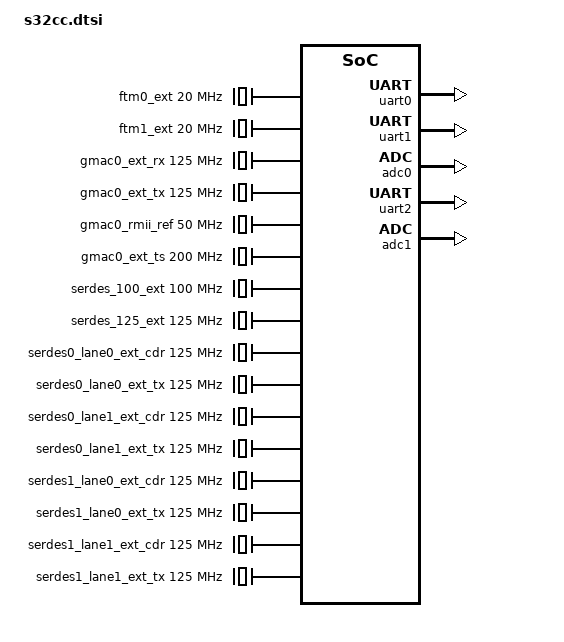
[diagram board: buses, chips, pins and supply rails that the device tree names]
// SPDX-License-Identifier: (GPL-2.0+ OR BSD-3-Clause)
/*
 * Device Tree Include file for NXP S32CC family SoCs.
 *
 * Copyright 2019-2024 NXP
 */

#include <dt-bindings/clock/s32gen1-clock-freq.h>
#include <dt-bindings/clock/s32gen1-clock.h>
#include <dt-bindings/clock/s32cc-scmi-clock.h>
#include <dt-bindings/perf/s32cc-scmi-perf.h>
#include <dt-bindings/interrupt-controller/arm-gic.h>
#include <dt-bindings/nvmem/s32cc-gpr-nvmem.h>
#include <dt-bindings/phy/phy.h>
#include <dt-bindings/reset/s32cc-scmi-reset.h>
#include <dt-bindings/reset/s32gen1-wkpu.h>
#if defined(HSE_SUPPORT)
#include "s32cc-crypto.dtsi"
#endif

/ {
	interrupt-parent = <&gic>;
	#address-cells = <2>;
	#size-cells = <2>;

	chosen {
		stdout-path = "serial0:115200n8";
		tick-timer = &pit0;
	};

	aliases {
		adc0 = &adc0;
		adc1 = &adc1;
		ethernet0 = &gmac0;
		i2c0 = &i2c0;
		i2c1 = &i2c1;
		i2c2 = &i2c2;
		i2c3 = &i2c3;
		i2c4 = &i2c4;
		spi0 = &spi0;
		spi1 = &spi1;
		spi2 = &spi2;
		spi3 = &spi3;
		spi4 = &spi4;
		spi5 = &spi5;
		spi6 = &qspi;
		serdes0 = &serdes0;
		serdes1 = &serdes1;
		pci0 = &pcie0;
		pci1 = &pcie1;
		mmc0 = &usdhc0;
		clks = &clks;
		serial0 = &uart0;
		serial1 = &uart1;
	};

	reserved-memory {
		#address-cells = <2>;
		#size-cells = <2>;
		ranges;

		/* 4Mb shared memory for PCIe shared mem transfers, EP mode */
		pci_shared_memory0: shm@c0000000 {
			compatible = "nxp,s32cc-shm";
			reg = <0x0 0xc0000000 0x0 0x400000>;    /* 4 MB */
			no-map;
		};

		pci_shared_memory1: shm@c0400000 {
			compatible = "nxp,s32cc-shm";
			reg = <0x0 0xc0400000 0x0 0x400000>;    /* 4 MB */
			no-map;
		};

		scmi_shbuf: shm@d0000000 {
			compatible = "arm,scmi-shmem";
			reg = <0x0 0xd0000000 0x0 0x80>;
			no-map;
		};

		hse_reserved: shm@84000000 {
			compatible = "nxp,s32cc-hse-rmem";
			reg = <0x0 0x84000000 0x0 0x1000000>;	/* 16 MB */
			no-map;
		};
	};

	firmware {
		u-boot,dm-pre-reloc;

		scmi: scmi {
			u-boot,dm-pre-reloc;
			compatible = "arm,scmi-smc";
			shmem = <&scmi_shbuf>;
			arm,smc-id = <0xc20000fe>;
			#address-cells = <1>;
			#size-cells = <0>;

			dfs: protocol@13 {
				reg = <0x13>;
				#clock-cells = <1>;
			};

			clks: protocol@14 {
				u-boot,dm-pre-reloc;

				reg = <0x14>;
				#clock-cells = <1>;
			};

			reset: protocol@16 {
				reg = <0x16>;
				#reset-cells = <1>;
			};
		};

		psci {
			compatible = "arm,psci-1.0";
			method = "smc";
		};
	};

	cpus {
		#address-cells = <1>;
		#size-cells = <0>;
		u-boot,dm-pre-reloc;

		cluster0_l2_cache: l2-cache0 {
			compatible = "cache";
		};

		cluster1_l2_cache: l2-cache1 {
			compatible = "cache";
		};
	};

	clocks {
		firc: firc {
			compatible = "fixed-clock";
			clock-frequency = <51000000>;
			#clock-cells = <1>;
		};

		sirc: sirc {
			compatible = "fixed-clock";
			clock-frequency = <32000>;
			#clock-cells = <1>;
		};

		ftm0_ext: ftm0_ext {
			compatible = "fixed-clock";
			clock-frequency = <20000000>;
			#clock-cells = <1>;
		};

		ftm1_ext: ftm1_ext {
			compatible = "fixed-clock";
			clock-frequency = <20000000>;
			#clock-cells = <1>;
		};

		gmac0_ext_rx: gmac0_ext_rx {
			compatible = "fixed-clock";
			clock-frequency = <125000000>;
			#clock-cells = <1>;
		};

		gmac0_ext_tx: gmac0_ext_tx {
			compatible = "fixed-clock";
			clock-frequency = <125000000>;
			#clock-cells = <1>;
		};

		gmac0_rmii_ref: gmac0_rmii_ref {
			compatible = "fixed-clock";
			clock-frequency = <50000000>;
			#clock-cells = <1>;
		};

		gmac0_ext_ts: gmac0_ext_ts {
			compatible = "fixed-clock";
			clock-frequency = <200000000>;
			#clock-cells = <1>;
		};

		serdes_100_ext: serdes_100_ext {
			compatible = "fixed-clock";
			clock-frequency = <100000000>;
			#clock-cells = <0>;
		};

		serdes_125_ext: serdes_125_ext {
			compatible = "fixed-clock";
			clock-frequency = <125000000>;
			#clock-cells = <0>;
		};

		serdes0_lane0_ext_cdr: serdes0_lane0_ext_cdr {
			compatible = "fixed-clock";
			clock-frequency = <125000000>;
			#clock-cells = <1>;
		};

		serdes0_lane0_ext_tx: serdes0_lane0_ext_tx {
			compatible = "fixed-clock";
			clock-frequency = <125000000>;
			#clock-cells = <1>;
		};

		serdes0_lane1_ext_cdr: serdes0_lane1_ext_cdr {
			compatible = "fixed-clock";
			clock-frequency = <125000000>;
			#clock-cells = <1>;
		};

		serdes0_lane1_ext_tx: serdes0_lane1_ext_tx {
			compatible = "fixed-clock";
			clock-frequency = <125000000>;
			#clock-cells = <1>;
		};

		serdes1_lane0_ext_cdr: serdes1_lane0_ext_cdr {
			compatible = "fixed-clock";
			clock-frequency = <125000000>;
			#clock-cells = <1>;
		};

		serdes1_lane0_ext_tx: serdes1_lane0_ext_tx {
			compatible = "fixed-clock";
			clock-frequency = <125000000>;
			#clock-cells = <1>;
		};

		serdes1_lane1_ext_cdr: serdes1_lane1_ext_cdr {
			compatible = "fixed-clock";
			clock-frequency = <125000000>;
			#clock-cells = <1>;
		};

		serdes1_lane1_ext_tx: serdes1_lane1_ext_tx {
			compatible = "fixed-clock";
			clock-frequency = <125000000>;
			#clock-cells = <1>;
		};

		plat_clks: plat_clks {
			compatible = "nxp,s32cc-clocking";
			#address-cells = <2>;
			#size-cells = <2>;
			#clock-cells = <1>;

			/**
			 * Keep here the clocks to be used by the BL31 stage to avoid
			 * their accidental disabling during the reset of the SCMI agents.
			 */
			clocks = <&plat_clks S32GEN1_CLK_DDR>,
				 <&plat_clks S32GEN1_CLK_LINFLEXD>;

			assigned-clocks =
				<&plat_clks S32GEN1_CLK_FXOSC>,
				<&plat_clks S32GEN1_CLK_FIRC>,
				<&plat_clks S32GEN1_CLK_SIRC>,
				<&plat_clks S32GEN1_CLK_GMAC0_EXT_TX>,
				<&plat_clks S32GEN1_CLK_GMAC0_EXT_RX>,
				<&plat_clks S32GEN1_CLK_SERDES0_LANE0_TX>,
				<&plat_clks S32GEN1_CLK_SERDES0_LANE0_CDR>,
				<&plat_clks S32GEN1_CLK_SERDES_REF>;
			assigned-clock-parents =
				<&fxosc 0>,
				<&firc 0>,
				<&sirc 0>,
				<&gmac0_ext_tx 0>,
				<&gmac0_ext_rx 0>,
				<&serdes0_lane0_ext_tx 0>,
				<&serdes0_lane0_ext_cdr 0>;
			assigned-clock-rates =
				<0>, <0>, <0>, <0>,
				<0>, <0>, <0>, <100000000>;
		};
	};

	pmu {
		compatible = "arm,cortex-a53-pmu";
		interrupts = <GIC_PPI 7 IRQ_TYPE_LEVEL_HIGH>;
	};

	generic_timer: timer {
		compatible = "arm,armv8-timer";
		interrupts = <GIC_PPI 13 IRQ_TYPE_LEVEL_LOW>,
			     <GIC_PPI 14 IRQ_TYPE_LEVEL_LOW>,
			     <GIC_PPI 11 IRQ_TYPE_LEVEL_LOW>,
			     <GIC_PPI 10 IRQ_TYPE_LEVEL_LOW>;
	};

	chipid: chipid {
		u-boot,dm-pre-reloc;
		compatible = "nxp,s32cc-soc";
		nvmem-cells = <&soc_letter>, <&part_no>,
			      <&soc_major>, <&soc_minor>, <&soc_subminor>,
			      <&lockstep_enabled>;
		nvmem-cell-names = "soc_letter", "part_no",
				   "soc_major", "soc_minor", "soc_subminor",
				   "lockstep_enabled";
	};

	soc {
		compatible = "simple-bus";
		#address-cells = <2>;
		#size-cells = <2>;
		ranges = <0x0 0x0 0x0 0x0 0x0 0x20000000>,
			 <0x0 0x22C00000 0x0 0x22C00000 0x0 0x4000>,
			 <0x0 0x40000000 0x0 0x40000000 0x0 0x14000000>,
			 <0x48 0x0 0x48 0x0 0x8 0x0>,
			 <0x58 0x0 0x58 0x0 0x8 0x0>;

		mc_cgm0: mc_cgm0@40030000 {
			compatible = "nxp,s32cc-mc_cgm0";
			reg = <0x0 0x40030000 0x0 0x3000>;

			assigned-clocks =
				<&plat_clks S32GEN1_CLK_MC_CGM0_MUX0>,
				<&plat_clks S32GEN1_CLK_MC_CGM0_MUX1>,
				<&plat_clks S32GEN1_CLK_MC_CGM0_MUX2>,
				<&plat_clks S32GEN1_CLK_MC_CGM0_MUX3>,
				<&plat_clks S32GEN1_CLK_MC_CGM0_MUX4>,
				<&plat_clks S32GEN1_CLK_MC_CGM0_MUX5>,
				<&plat_clks S32GEN1_CLK_MC_CGM0_MUX7>,
				<&plat_clks S32GEN1_CLK_MC_CGM0_MUX8>,
				<&plat_clks S32GEN1_CLK_MC_CGM0_MUX9>,
				<&plat_clks S32GEN1_CLK_MC_CGM0_MUX10>,
				<&plat_clks S32GEN1_CLK_MC_CGM0_MUX12>,
				<&plat_clks S32GEN1_CLK_MC_CGM0_MUX14>,
				<&plat_clks S32GEN1_CLK_MC_CGM0_MUX16>,
				<&plat_clks S32GEN1_CLK_XBAR_2X>,
				<&plat_clks S32GEN1_CLK_PER>,
				<&plat_clks S32GEN1_CLK_FTM0_REF>,
				<&plat_clks S32GEN1_CLK_FTM1_REF>,
				<&plat_clks S32GEN1_CLK_CAN_PE>,
				<&plat_clks S32GEN1_CLK_LIN_BAUD>,
				<&plat_clks S32GEN1_CLK_GMAC0_TS>,
				<&plat_clks S32GEN1_CLK_SPI>,
				<&plat_clks S32GEN1_CLK_SDHC>,
				<&plat_clks S32GEN1_CLK_QSPI_2X>;
			assigned-clock-parents =
				<&plat_clks S32GEN1_CLK_ARM_PLL_DFS1>,
				<&plat_clks S32GEN1_CLK_PERIPH_PLL_PHI0>,
				<&plat_clks S32GEN1_CLK_FXOSC>,
				<&plat_clks S32GEN1_CLK_PERIPH_PLL_PHI1>,
				<&plat_clks S32GEN1_CLK_PERIPH_PLL_PHI1>,
				<&plat_clks S32GEN1_CLK_PERIPH_PLL_PHI1>,
				<&plat_clks S32GEN1_CLK_PERIPH_PLL_PHI2>,
				<&plat_clks S32GEN1_CLK_PERIPH_PLL_PHI3>,
				<&plat_clks S32GEN1_CLK_PERIPH_PLL_PHI4>,
				<&plat_clks S32GEN1_CLK_PERIPH_PLL_PHI5>,
				<&plat_clks S32GEN1_CLK_PERIPH_PLL_DFS1>,
				<&plat_clks S32GEN1_CLK_PERIPH_PLL_DFS3>,
				<&plat_clks S32GEN1_CLK_PERIPH_PLL_PHI7>;
			assigned-clock-rates =
				<0>,
				<0>,
				<0>,
				<0>,
				<0>,
				<0>,
				<0>,
				<0>,
				<0>,
				<0>,
				<0>,
				<0>,
				<0>,
				<0>,
				<80000000>,
				<40000000>,
				<40000000>,
				<80000000>,
				<125000000>,
				<200000000>,
				<100000000>,
				<400000000>,
				<S32GEN1_QSPI_2X_CLK_FREQ>;
		};

		mc_cgm1: mc_cgm1@40034000 {
			compatible = "nxp,s32cc-mc_cgm1";
			reg = <0x0 0x40034000 0x0 0x3000>;

			assigned-clocks =
				<&plat_clks S32GEN1_CLK_MC_CGM1_MUX0>,
				<&plat_clks S32GEN1_CLK_A53_CORE>;
			assigned-clock-parents =
				<&plat_clks S32GEN1_CLK_ARM_PLL_PHI0>,
				<0>;
		};

		armpll: armpll@40038000 {
			compatible = "nxp,s32cc-armpll";
			reg = <0x0 0x40038000 0x0 0x3000>;

			assigned-clocks =
				<&plat_clks S32GEN1_CLK_ARM_PLL_MUX>,
				<&plat_clks S32GEN1_CLK_ARM_PLL_VCO>,
				<&plat_clks S32GEN1_CLK_ARM_PLL_PHI0>;
			assigned-clock-parents =
				<&plat_clks S32GEN1_CLK_FXOSC>;
		};

		periphpll: periphpll@4003c000 {
			compatible = "nxp,s32cc-periphpll";
			reg = <0x0 0x4003c000 0x0 0x3000>;

			assigned-clocks =
				<&plat_clks S32GEN1_CLK_PERIPH_PLL_MUX>,
				<&plat_clks S32GEN1_CLK_PERIPH_PLL_VCO>,
				<&plat_clks S32GEN1_CLK_PERIPH_PLL_PHI0>,
				<&plat_clks S32GEN1_CLK_PERIPH_PLL_PHI1>,
				<&plat_clks S32GEN1_CLK_PERIPH_PLL_PHI2>,
				<&plat_clks S32GEN1_CLK_PERIPH_PLL_PHI3>,
				<&plat_clks S32GEN1_CLK_PERIPH_PLL_PHI4>,
				<&plat_clks S32GEN1_CLK_PERIPH_PLL_PHI5>,
				<&plat_clks S32GEN1_CLK_PERIPH_PLL_PHI7>;
			assigned-clock-parents =
				<&plat_clks S32GEN1_CLK_FXOSC>;
			assigned-clock-rates =
				<0>,
				<S32GEN1_PERIPH_PLL_VCO_FREQ>, <100000000>,
				<80000000>, <80000000>,
				<125000000>, <200000000>,
				<125000000>, <100000000>;
		};

		accelpll: accelpll@40040000 {
			compatible = "nxp,s32cc-accelpll";
			reg = <0x0 0x40040000 0x0 0x3000>;
		};

		ddrpll: ddrpll@40044000 {
			compatible = "nxp,s32cc-ddrpll";
			reg = <0x0 0x40044000 0x0 0x3000>;

			assigned-clocks =
				<&plat_clks S32GEN1_CLK_DDR_PLL_MUX>,
				<&plat_clks S32GEN1_CLK_DDR_PLL_VCO>;
			assigned-clock-parents =
				<&plat_clks S32GEN1_CLK_FXOSC>;
			assigned-clock-rates =
				<0>,
				<S32GEN1_DDR_PLL_VCO_FREQ>;
		};

		fxosc: fxosc@40050000 {
			compatible = "fixed-clock", "nxp,s32cc-fxosc";
			reg = <0x0 0x40050000 0x0 0x3000>;
			clock-frequency = <S32GEN1_FXOSC_FREQ>;
			#clock-cells = <1>;
		};

		armdfs: armdfs@40054000 {
			compatible = "nxp,s32cc-armdfs";
			reg = <0x0 0x40054000 0x0 0x3000>;

			assigned-clocks =
				<&plat_clks S32GEN1_CLK_ARM_PLL_DFS1>,
				<&plat_clks S32GEN1_CLK_ARM_PLL_DFS2>;
			assigned-clock-rates =
				<0>,
				<800000000>;
		};

		periphdfs: periphdfs@40058000 {
			compatible = "nxp,s32cc-periphdfs";
			reg = <0x0 0x40058000 0x0 0x3000>;

			assigned-clocks =
				<&plat_clks S32GEN1_CLK_PERIPH_PLL_DFS1>,
				<&plat_clks S32GEN1_CLK_PERIPH_PLL_DFS3>;
			assigned-clock-rates =
				<S32GEN1_PERIPH_DFS1_FREQ>,
				<S32GEN1_PERIPH_DFS3_FREQ>;
		};

		cmu: cmu@4005c000 {
			reg = <0x0 0x4005c000 0x0 0x1000>;
			clocks = <&clks S32CC_SCMI_CLK_CMU_MODULE>,
				 <&clks S32CC_SCMI_CLK_CMU_REG>;
		};

		mc_cgm5: mc_cgm5@40068000 {
			compatible = "nxp,s32cc-mc_cgm5";
			reg = <0x0 0x40068000 0x0 0x3000>;

			assigned-clocks =
				<&plat_clks S32GEN1_CLK_MC_CGM5_MUX0>,
				<&plat_clks S32GEN1_CLK_DDR>;
			assigned-clock-parents =
				<&plat_clks S32GEN1_CLK_DDR_PLL_PHI0>,
				<0>;
			assigned-clock-rates =
				<0>,
				<S32GEN1_DDR_FREQ>;
		};

		rgm: rgm@40078000 {
			compatible = "nxp,s32cc-rgm";
			reg = <0x0 0x40078000 0x0 0x3000>;
		};

		src: syscon@4007c000 {
			compatible = "simple-mfd", "syscon";
			reg = <0x0 0x4007c000 0x0 0x3000>;
			#address-cells = <1>;
			#size-cells = <1>;
			ranges = <0x0 0x0 0x4007c000 0x100>;

			gpr: gpr {
				u-boot,dm-pre-reloc;
				compatible = "nxp,s32cc-gpr";

				#address-cells = <1>;
				#size-cells = <1>;

				lockstep_enabled: lockstep_enabled@0 {
					reg = <S32CC_GPR_LOCKSTEP_ENABLED_OFFSET
					       S32CC_GPR_CELL_SIZE>;
				};
				gmac0_phy_intf_sel: gmac0_phy_intf_sel@1 {
					reg = <S32CC_GPR_GMAC0_PHY_INTF_SEL_OFFSET
					       S32CC_GPR_CELL_SIZE>;
				};
			};

			can_ts_ctrl: mux-controller@f0 {
				compatible = "mmio-mux";
				reg = <0xf0 0x4>;
				mux-reg-masks = <0xf0 0x7>;
				status = "disabled";
			};
		};

		mc_me: mc_me@40088000 {
			compatible = "nxp,s32cc-mc_me";
			reg = <0x0 0x40088000 0x0 0x3000>;
		};

		wkpu: wkpu@40090000 {
			compatible = "nxp,s32cc-wkpu";
			reg = <0x0 0x40090000 0x0 0x10000>, /* WKPU */
			      <0x0 0x4007cb04 0x0 0x4>; /* S32G_STDBY_GPR */
			/*
			 * Enable RTC as wake-up source
			 */
			nxp,irqs = <S32GEN1_WKPU_RTC_IRQ
				    S32GEN1_WKPU_IRQ_RISING
				    S32GEN1_WKPU_PULL_DIS>;

			nxp,warm-boot = <S32GEN1_WKPU_LONG_BOOT>;

			status = "disabled";
		};

		ocotp: ocotp@400a4000 {
			reg = <0x0 0x400a4000 0x0 0x400>;
		};

		qspi: spi@40134000 {
			compatible = "nxp,s32cc-qspi";
			#address-cells = <1>;
			#size-cells = <0>;
			reg = <0x0 0x40134000 0x0 0x1000>,
			      <0x0 0x00000000 0x0 0x20000000>;
			reg-names = "QuadSPI", "QuadSPI-memory";
			clock-names = "qspi_en", "qspi";
			clocks = <&clks S32CC_SCMI_CLK_QUADSPI_FLASH1X>,
				 <&clks S32CC_SCMI_CLK_QUADSPI_FLASH1X>;
			spi-max-frequency = <200000000>;
			spi-num-chipselects = <2>;
			status = "disabled";
		};

		pit0: pit@40188000 {
			compatible = "nxp,s32cc-pit";
			reg = <0x0 0x40188000 0x0 0x3000>;
			interrupts = <GIC_SPI 53 IRQ_TYPE_LEVEL_HIGH>;
			clocks = <&clks S32CC_SCMI_CLK_PIT_MODULE>;
			clock-names = "pit";
		};

		uart0: serial@401c8000 {
			compatible = "nxp,s32cc-linflexuart", "fsl,s32v234-linflexuart";
			reg = <0x0 0x401c8000 0x0 0x3000>;
			interrupts = <GIC_SPI 82 IRQ_TYPE_EDGE_RISING>;
			clocks = <&clks S32CC_SCMI_CLK_LINFLEX_LIN>,
				 <&clks S32CC_SCMI_CLK_LINFLEX_XBAR>;
			clock-names = "lin", "ipg";
		};

		uart1: serial@401cc000 {
			compatible = "nxp,s32cc-linflexuart", "fsl,s32v234-linflexuart";
			reg = <0x0 0x401cc000 0x0 0x3000>;
			interrupts = <GIC_SPI 83 IRQ_TYPE_EDGE_RISING>;
			clocks = <&clks S32CC_SCMI_CLK_LINFLEX_LIN>,
				 <&clks S32CC_SCMI_CLK_LINFLEX_XBAR>;
			clock-names = "lin", "ipg";
		};

		spi0: spi@401d4000 {
			compatible = "nxp,s32cc-dspi";
			reg = <0x0 0x401d4000 0x0 0x1000>;
			clocks = <&clks S32CC_SCMI_CLK_SPI_MODULE>;
			clock-names = "dspi";
			spi-num-chipselects = <8>;
			bus-num = <0>;
			spi-fifo-size = <5>;
			spi-cpol;
			spi-cpha;
			#address-cells = <1>;
			#size-cells = <0>;
			status = "disabled";
		};

		spi1: spi@401d8000 {
			compatible = "nxp,s32cc-dspi";
			reg = <0x0 0x401d8000 0x0 0x1000>;
			clocks = <&clks S32CC_SCMI_CLK_SPI_MODULE>;
			clock-names = "dspi";
			spi-num-chipselects = <5>;
			bus-num = <1>;
			spi-fifo-size = <5>;
			spi-cpol;
			spi-cpha;
			#address-cells = <1>;
			#size-cells = <0>;
			status = "disabled";
		};

		spi2: spi@401dc000 {
			compatible = "nxp,s32cc-dspi";
			reg = <0x0 0x401dc000 0x0 0x1000>;
			clocks = <&clks S32CC_SCMI_CLK_SPI_MODULE>;
			clock-names = "dspi";
			spi-num-chipselects = <5>;
			bus-num = <2>;
			spi-fifo-size = <5>;
			spi-cpol;
			spi-cpha;
			#address-cells = <1>;
			#size-cells = <0>;
			status = "disabled";
		};

		i2c0: i2c@401e4000 {
			compatible = "nxp,s32cc-i2c";
			reg = <0x0 0x401e4000 0x0 0x1000>;
			clocks = <&clks S32CC_SCMI_CLK_I2C_REG>;
			clock-names = "ipg";
			#address-cells = <1>;
			#size-cells = <0>;
			status = "disabled";
		};

		i2c1: i2c@401e8000 {
			compatible = "nxp,s32cc-i2c";
			reg = <0x0 0x401e8000 0x0 0x1000>;
			clocks = <&clks S32CC_SCMI_CLK_I2C_REG>;
			clock-names = "ipg";
			#address-cells = <1>;
			#size-cells = <0>;
			status = "disabled";
		};

		i2c2: i2c@401ec000 {
			compatible = "nxp,s32cc-i2c";
			reg = <0x0 0x401ec000 0x0 0x1000>;
			clocks = <&clks S32CC_SCMI_CLK_I2C_REG>;
			clock-names = "ipg";
			#address-cells = <1>;
			#size-cells = <0>;
			status = "disabled";
		};

		adc0: adc@401f8000 {
			compatible = "nxp,s32cc-adc";
			reg = <0x0 0x401f8000 0x0 0x1000>;
			interrupts = <GIC_SPI 70 IRQ_TYPE_LEVEL_HIGH>;
			clocks = <&clks S32CC_SCMI_CLK_SAR_ADC_BUS>;
			clock-names = "adc";
		};

		stm6: timer@40224000 {
			compatible = "nxp,s32cc-stm-global";
			reg = <0x0 0x40224000 0x0 0x3000>;
		};

		pit1: pit@40288000 {
			compatible = "nxp,s32cc-pit";
			reg = <0x0 0x40288000 0x0 0x3000>;
			interrupts = <GIC_SPI 54 IRQ_TYPE_LEVEL_HIGH>;
			clocks = <&clks S32CC_SCMI_CLK_PIT_MODULE>;
			clock-names = "pit";
		};

		uart2: serial@402bc000 {
			compatible = "nxp,s32cc-linflexuart", "fsl,s32v234-linflexuart";
			reg = <0x0 0x402bc000 0x0 0x3000>;
			interrupts = <GIC_SPI 84 IRQ_TYPE_EDGE_RISING>;
			clocks = <&clks S32CC_SCMI_CLK_LINFLEX_LIN>,
				 <&clks S32CC_SCMI_CLK_LINFLEX_XBAR>;
			clock-names = "lin", "ipg";
		};

		spi3: spi@402c8000 {
			compatible = "nxp,s32cc-dspi";
			reg = <0x0 0x402c8000 0x0 0x1000>;
			clocks = <&clks S32CC_SCMI_CLK_SPI_MODULE>;
			clock-names = "dspi";
			spi-num-chipselects = <5>;
			bus-num = <3>;
			spi-fifo-size = <5>;
			spi-cpol;
			spi-cpha;
			#address-cells = <1>;
			#size-cells = <0>;
			status = "disabled";
		};

		spi4: spi@402cc000 {
			compatible = "nxp,s32cc-dspi";
			reg = <0x0 0x402cc000 0x0 0x1000>;
			clocks = <&clks S32CC_SCMI_CLK_SPI_MODULE>;
			clock-names = "dspi";
			spi-num-chipselects = <5>;
			bus-num = <4>;
			spi-fifo-size = <5>;
			spi-cpol;
			spi-cpha;
			#address-cells = <1>;
			#size-cells = <0>;
			status = "disabled";
		};

		spi5: spi@402d0000 {
			compatible = "nxp,s32cc-dspi";
			reg = <0x0 0x402d0000 0x0 0x1000>;
			clocks = <&clks S32CC_SCMI_CLK_SPI_MODULE>;
			clock-names = "dspi";
			spi-num-chipselects = <5>;
			bus-num = <5>;
			spi-fifo-size = <5>;
			spi-cpol;
			spi-cpha;
			#address-cells = <1>;
			#size-cells = <0>;
			status = "disabled";
		};

		i2c3: i2c@402d8000 {
			compatible = "nxp,s32cc-i2c";
			reg = <0x0 0x402d8000 0x0 0x1000>;
			clocks = <&clks S32CC_SCMI_CLK_I2C_REG>;
			clock-names = "ipg";
			#address-cells = <1>;
			#size-cells = <0>;
			status = "disabled";
		};

		i2c4: i2c@402dc000 {
			compatible = "nxp,s32cc-i2c";
			reg = <0x0 0x402dc000 0x0 0x1000>;
			clocks = <&clks S32CC_SCMI_CLK_I2C_REG>;
			clock-names = "ipg";
			#address-cells = <1>;
			#size-cells = <0>;
			status = "disabled";
		};

		adc1: adc@402e8000 {
			compatible = "nxp,s32cc-adc";
			reg = <0x0 0x402e8000 0x0 0x1000>;
			interrupts = <GIC_SPI 71 IRQ_TYPE_LEVEL_HIGH>;
			clocks = <&clks S32CC_SCMI_CLK_SAR_ADC_BUS>;
			clock-names = "adc";
		};

		usdhc0: usdhc@402f0000 {
			compatible = "nxp,s32cc-usdhc", "nxp,s32g2-usdhc";
			reg = <0x0 0x402f0000 0x0 0x1000>;
			interrupts = <GIC_SPI 36 IRQ_TYPE_LEVEL_HIGH>;
			clocks = <&clks S32CC_SCMI_CLK_USDHC_MODULE>,
				 <&clks S32CC_SCMI_CLK_USDHC_AHB>,
				 <&clks S32CC_SCMI_CLK_USDHC_CORE>;
			clock-names = "ipg", "ahb", "per";
			bus-width = <8>;
			clock-frequency = <0>;	/* updated dynamically if 0 */
			/* The property name is misleading. Actually means DDR52 is
			 * supported at both 1.8V and 3.3V
			 */
			mmc-ddr-1_8v;
			status = "disabled";
		};

		gmac0: ethernet@4033c000 {
			compatible = "nxp,s32cc-dwmac";
			reg = <0x0 0x4033c000 0x0 0x2000>; /* gmac IP */
			interrupt-parent = <&gic>;
			interrupts = <GIC_SPI 57 IRQ_TYPE_LEVEL_HIGH>;
			interrupt-names = "macirq";
			tx-fifo-depth = <20480>;
			rx-fifo-depth = <20480>;
			status = "disabled";
			phy-names = "gmac_xpcs";
			phys = <&serdes0 PHY_TYPE_XPCS 0 0>;
			dma-coherent;
			clocks = <&clks S32CC_SCMI_CLK_GMAC0_AXI>,
				 <&clks S32CC_SCMI_CLK_GMAC0_AXI>,
				 <&clks S32CC_SCMI_CLK_GMAC0_TX_SGMII>,
				 <&clks S32CC_SCMI_CLK_GMAC0_TX_RGMII>,
				 <&clks S32CC_SCMI_CLK_GMAC0_TX_RMII>,
				 <&clks S32CC_SCMI_CLK_GMAC0_TX_MII>,
				 <&clks S32CC_SCMI_CLK_GMAC0_RX_SGMII>,
				 <&clks S32CC_SCMI_CLK_GMAC0_RX_RGMII>,
				 <&clks S32CC_SCMI_CLK_GMAC0_RX_RMII>,
				 <&clks S32CC_SCMI_CLK_GMAC0_RX_MII>,
				 <&clks S32CC_SCMI_CLK_GMAC0_TS>;
			clock-names = "stmmaceth", "pclk",
				      "tx_sgmii", "tx_rgmii",
				      "tx_rmii", "tx_mii",
				      "rx_sgmii", "rx_rgmii",
				      "rx_rmii", "rx_mii",
				      "ptp_ref";
			nvmem-cells = <&gmac0_phy_intf_sel>;
			nvmem-cell-names = "gmac_phy_intf_sel";
			#address-cells = <1>;
			#size-cells = <0>;

			gmac0_mdio: mdio@4033c200 {
				#address-cells = <1>;
				#size-cells = <0>;
				compatible = "snps,dwmac-mdio";
				reg = <0x4033c200>;
			};
		};

		ddr_errata: ddr_errata@403c0000 {
			compatible = "nxp,s32cc-ddr";
			reg = <0x0 0x403c0000 0x0 0x100>;
			status = "disabled";
		};

		pcie0: pcie@40400000 {
			reg = <0x00 0x40400000 0x0 0x00001000>,   /* dbi registers */
			       <0x00 0x40420000 0x0 0x00001000>,   /* dbi2 registers */
			       <0x00 0x40460000 0x0 0x00001000>,   /* atu registers */
			       <0x00 0x40470000 0x0 0x00001000>,   /* dma registers */
			       <0x00 0x40481000 0x0 0x000000f8>,   /* ctrl registers */
			       /* RC configuration space, 4KB each for cfg0 and cfg1
				* at the end of the outbound memory map
				*/
			       <0x5f 0xffffe000 0x0 0x00002000>,
			       /* 1GB EP addr space */
			       <0x58 0x00000000 0x0 0x40000000>;
			reg-names = "dbi", "dbi2", "atu", "dma", "ctrl",
				    "config", "addr_space";
			#address-cells = <3>;
			#size-cells = <2>;

			device_type = "pci";
			device_id = <0>;

			nxp,phy-mode = "crns";
			num-lanes = <2>;
			max-link-speed = <3>;

			nvmem-cell-names = "serdes_presence", "pcie_dev_id";
			nvmem-cells = <&serdes_presence>, <&pcie_dev_id>;

			/* Root Complex */
			bus-range = <0x0 0xff>;
			ranges =
				/* downstream I/O, 64KB and aligned naturally just
				 * before the config space to minimize fragmentation
				 */
				<0x81000000 0x0 0x00000000 0x5f 0xfffe0000 0x0 0x00010000>,
				/* non-prefetchable memory, with best case size and
				 * alignment
				 */
				<0x82000000 0x0 0x00000000 0x58 0x00000000 0x7 0xfffe0000>;

			/* End Point */
			shared-mem = <&pci_shared_memory0>;
			auto-config-bars;

			status = "disabled";
		};

		serdes0: serdes@40480000 {
			#phy-cells = <3>;
			compatible = "nxp,s32cc-serdes";
			clocks = <&clks S32CC_SCMI_CLK_SERDES_AXI>,
				 <&clks S32CC_SCMI_CLK_SERDES_AUX>,
				 <&clks S32CC_SCMI_CLK_SERDES_APB>,
				 <&clks S32CC_SCMI_CLK_SERDES_REF>;
			clock-names = "axi", "aux", "apb", "ref";
			#address-cells = <3>;
			#size-cells = <2>;
			num-lanes = <2>; /* supports max 2 lanes */
			resets = <&reset S32CC_SCMI_RST_SERDES0>,
				 <&reset S32CC_SCMI_RST_PCIE0>;
			reset-names = "serdes", "pcie";
			reg = <0x0 0x40480000 0x0 0x108>,
			      <0x0 0x40483008 0x0 0x10>,
			      <0x0 0x40482000 0x0 0x800>,
			      <0x0 0x40482800 0x0 0x800>;
			reg-names = "ss_pcie", "pcie_phy", "xpcs0", "xpcs1";
			status = "disabled";
		};

		rdc: rdc@40080000 {
			compatible = "nxp,s32cc-rdc";
			reg = <0x0 0x40080000 0x0 0x3000>;
		};

		pcie1: pcie@44100000 {
			reg = <0x00 0x44100000 0x0 0x00001000>,   /* dbi registers */
			      <0x00 0x44120000 0x0 0x00001000>,   /* dbi2 registers */
			      <0x00 0x44160000 0x0 0x00001000>,   /* atu registers */
			      <0x00 0x44170000 0x0 0x00001000>,   /* dma registers */
			      <0x00 0x44181000 0x0 0x000000f8>,   /* ctrl registers */
			      /* RC configuration space, 4KB each for cfg0 and cfg1
			       * at the end of the outbound memory map
			       */
			      <0x4f 0xffffe000 0x0 0x00002000>,
			      /* 1GB EP addr space */
			      <0x48 0x00000000 0x0 0x40000000>;
			reg-names = "dbi", "dbi2", "atu", "dma", "ctrl",
				    "config", "addr_space";
			#address-cells = <3>;
			#size-cells = <2>;

			device_type = "pci";
			device_id = <1>;

			nxp,phy-mode = "crns";
			num-lanes = <1>;
			max-link-speed = <3>;

			nvmem-cell-names = "serdes_presence", "pcie_dev_id";
			nvmem-cells = <&serdes_presence>, <&pcie_dev_id>;

			/* Root Complex */
			bus-range = <0x0 0xff>;
			ranges =
				/* downstream I/O, 64KB and aligned naturally just
				 * before the config space to minimize fragmentation
				 */
				<0x81000000 0x0 0x00000000 0x4f 0xfffe0000 0x0 0x00010000>,
				/* non-prefetchable memory, with best case size and
				 * alignment
				 */
				<0x82000000 0x0 0x00000000 0x48 0x00000000 0x7 0xfffe0000>;

			/* End Point */
			shared-mem = <&pci_shared_memory1>;
			auto-config-bars;

			status = "disabled";
		};

		serdes1: serdes@44180000 {
			#phy-cells = <3>;
			compatible = "nxp,s32cc-serdes";
			clocks = <&clks S32CC_SCMI_CLK_SERDES_AXI>,
				 <&clks S32CC_SCMI_CLK_SERDES_AUX>,
				 <&clks S32CC_SCMI_CLK_SERDES_APB>,
				 <&clks S32CC_SCMI_CLK_SERDES_REF>;
			clock-names = "axi", "aux", "apb", "ref";
			#address-cells = <3>;
			#size-cells = <2>;
			num-lanes = <1>; /* supports 1 lane */
			resets = <&reset S32CC_SCMI_RST_SERDES1>,
				 <&reset S32CC_SCMI_RST_PCIE1>;
			reset-names = "serdes", "pcie";
			reg = <0x0 0x44180000 0x0 0x108>,
			      <0x0 0x44183008 0x0 0x10>,
			      <0x0 0x44182000 0x0 0x800>,
			      <0x0 0x44182800 0x0 0x800>;
			reg-names = "ss_pcie", "pcie_phy", "xpcs0", "xpcs1";
			status = "disabled";
		};

		gic: interrupt-controller@50800000 {
			compatible = "arm,gic-v3";
			#interrupt-cells = <3>;
			#address-cells = <2>;
			#size-cells = <2>;
			interrupt-controller;
			reg = <0 0x50800000 0 0x10000>, /* GIC Dist */
			      <0 0x50880000 0 0x80000>, /* GICR (RD_base + SGI_base) */
			      <0 0x50400000 0 0x2000>, /* GICC */
			      <0 0x50410000 0 0x2000>, /* GICH */
			      <0 0x50420000 0 0x2000>; /* GICV */
			interrupts = <GIC_PPI 9 IRQ_TYPE_LEVEL_HIGH>;
		};

		/* When using MSCM core-to-core interrupts, make sure that the same
		 * interrupt is not used by multiple components simultaneously
		 * (e.g., IPCF, SRM).
		 */
		mscm0: mscm@40198000 {
			compatible = "nxp,s32cc-mscm";
			reg = <0x0 0x40198000 0x0 0x1000>;
			/* CPU2CPU interrupts */
			interrupts = <GIC_SPI 1 IRQ_TYPE_LEVEL_HIGH>, // CPU to M7/A53 interrupt#0
				<GIC_SPI 2 IRQ_TYPE_LEVEL_HIGH>, // CPU to M7/A53 interrupt#1
				<GIC_SPI 3 IRQ_TYPE_LEVEL_HIGH>; // CPU to M7/A53 interrupt#2
		};
	};
};

